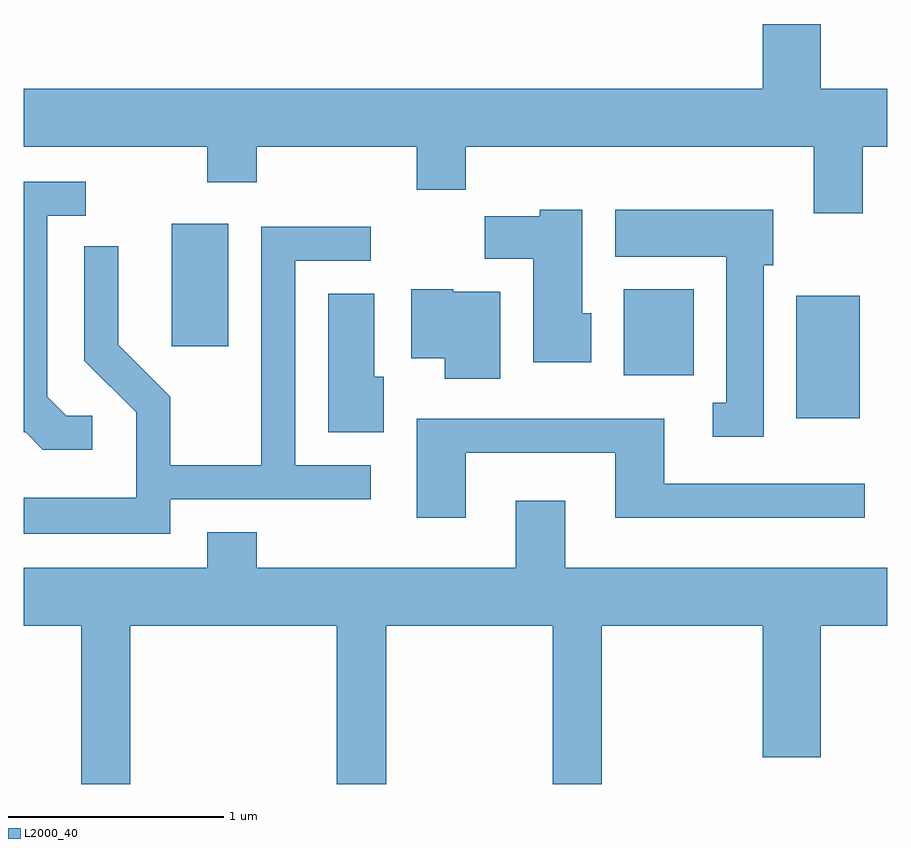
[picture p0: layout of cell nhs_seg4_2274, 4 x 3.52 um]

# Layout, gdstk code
import gdstk
lib = gdstk.Library(unit=1e-6, precision=1e-09)
def R(c, l, rs):  # rectangles x0, y0, x1, y1
    for r in rs: c.add(gdstk.rectangle(r[:2], r[2:], *l))
def P(c, l, *ps):  # polygons
    for p in ps: c.add(gdstk.Polygon(p, *l))
L2000_40 = (2000, 40)

nhs_seg4_2274 = lib.new_cell('nhs_seg4_2274')
R(nhs_seg4_2274, L2000_40, [(255.191,1315.676,255.484,1316.244), (254.391,1315.876,254.714,1316.274), (252.296,1316.011,252.559,1316.579)])
P(nhs_seg4_2274, L2000_40, [(255.499,1316.936),(255.611,1316.936),(255.611,1317.204),(255.304,1317.204),(255.304,1317.504),(255.036,1317.504),(255.036,1317.204),(251.611,1317.204),(251.611,1316.936),(252.461,1316.936),(252.461,1316.771),(252.689,1316.771),(252.689,1316.936),(253.431,1316.936),(253.431,1316.736),(253.659,1316.736),(253.659,1316.936),(255.271,1316.936),(255.271,1316.626),(255.499,1316.626)],
  [(251.928,1315.689),(251.807,1315.689),(251.719,1315.777),(251.719,1316.616),(251.898,1316.616),(251.898,1316.774),(251.611,1316.774),(251.611,1315.611),(251.619,1315.611),(251.699,1315.531),(251.928,1315.531)],
  [(254.239,1316.164),(254.199,1316.164),(254.199,1316.644),(254.001,1316.644),(254.001,1316.614),(253.746,1316.614),(253.746,1316.416),(253.971,1316.416),(253.971,1315.936),(254.239,1315.936)],
  [(255.039,1316.386),(255.084,1316.386),(255.084,1316.644),(254.351,1316.644),(254.351,1316.426),(254.866,1316.426),(254.866,1315.749),(254.803,1315.749),(254.803,1315.591),(255.039,1315.591)],
  [(252.289,1315.301),(253.218,1315.301),(253.218,1315.459),(252.869,1315.459),(252.869,1316.406),(253.218,1316.406),(253.218,1316.564),(252.711,1316.564),(252.711,1315.459),(252.289,1315.459),(252.289,1315.777),(252.049,1316.017),(252.049,1316.473),(251.891,1316.473),(251.891,1315.944),(252.131,1315.704),(252.131,1315.309),(251.611,1315.309),(251.611,1315.141),(252.289,1315.141)],
  [(253.819,1316.264),(253.6,1316.264),(253.6,1316.274),(253.406,1316.274),(253.406,1315.956),(253.561,1315.956),(253.561,1315.861),(253.819,1315.861)],
  [(253.279,1315.869),(253.234,1315.869),(253.234,1316.254),(253.021,1316.254),(253.021,1315.611),(253.279,1315.611)],
  [(253.659,1315.516),(254.351,1315.516),(254.351,1315.216),(255.508,1315.216),(255.508,1315.374),(254.579,1315.374),(254.579,1315.674),(253.431,1315.674),(253.431,1315.216),(253.659,1315.216)],
  [(252.104,1314.716),(253.061,1314.716),(253.061,1313.982),(253.289,1313.982),(253.289,1314.716),(254.061,1314.716),(254.061,1313.982),(254.289,1313.982),(254.289,1314.716),(255.036,1314.716),(255.036,1314.106),(255.304,1314.106),(255.304,1314.716),(255.611,1314.716),(255.611,1314.984),(254.119,1314.984),(254.119,1315.294),(253.891,1315.294),(253.891,1314.984),(252.689,1314.984),(252.689,1315.149),(252.461,1315.149),(252.461,1314.984),(251.611,1314.984),(251.611,1314.716),(251.876,1314.716),(251.876,1313.982),(252.104,1313.982)])

lib.write_gds('nhs_seg4_2274.gds')
